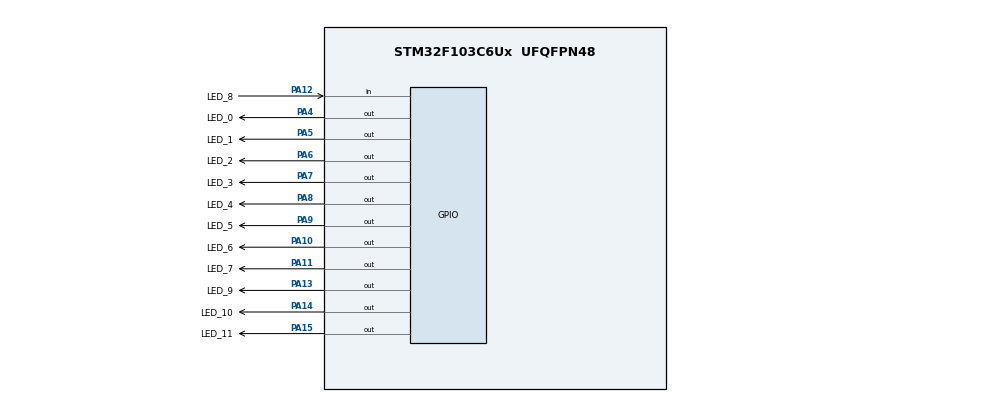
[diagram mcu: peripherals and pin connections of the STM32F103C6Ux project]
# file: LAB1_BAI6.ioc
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Mcu.Family=STM32F1
Mcu.Name=STM32F103C6Ux
Mcu.Package=UFQFPN48
NVIC.PriorityGroup=NVIC_PRIORITYGROUP_4
PA10.GPIO_Label=LED_6
PA10.Signal=GPIO_Output
PA11.GPIO_Label=LED_7
PA11.Signal=GPIO_Output
PA12.GPIO_Label=LED_8
PA12.Signal=GPIO_Input
PA13.GPIO_Label=LED_9
PA13.Signal=GPIO_Output
PA14.GPIO_Label=LED_10
PA14.Signal=GPIO_Output
PA15.GPIO_Label=LED_11
PA15.Signal=GPIO_Output
PA4.GPIO_Label=LED_0
PA4.Signal=GPIO_Output
PA5.GPIO_Label=LED_1
PA5.Signal=GPIO_Output
PA6.GPIO_Label=LED_2
PA6.Signal=GPIO_Output
PA7.GPIO_Label=LED_3
PA7.Signal=GPIO_Output
PA8.GPIO_Label=LED_4
PA8.Signal=GPIO_Output
PA9.GPIO_Label=LED_5
PA9.Signal=GPIO_Output
ProjectManager.HeapSize=0x200
ProjectManager.StackSize=0x400
ProjectManager.TargetToolchain=STM32CubeIDE
RCC.APB1Freq_Value=8000000
RCC.APB2Freq_Value=8000000
VP_SYS_VS_ND.Mode=No_Debug
board=custom

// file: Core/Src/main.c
/* USER CODE BEGIN Header */
/**
  ******************************************************************************
  * @file           : main.c
  * @brief          : Main program body
  ******************************************************************************
  * @attention
  *
  * <h2><center>&copy; Copyright (c) 2023 STMicroelectronics.
  * All rights reserved.</center></h2>
  *
  * This software component is licensed by ST under BSD 3-Clause license,
  * the "License"; You may not use this file except in compliance with the
  * License. You may obtain a copy of the License at:
  *                        opensource.org/licenses/BSD-3-Clause
  *
  ******************************************************************************
  */
/* USER CODE END Header */
#include "main.h"

void SystemClock_Config(void);
static void MX_GPIO_Init(void);

int main(void)
{

  /* MCU Configuration--------------------------------------------------------*/

  /* Reset of all peripherals, Initializes the Flash interface and the Systick. */
  HAL_Init();

  /* Configure the system clock */
  SystemClock_Config();

  /* Initialize all configured peripherals */
  MX_GPIO_Init();

  /* Infinite loop */
  /* USER CODE BEGIN WHILE */

  void clearAllClock()
  { /* Tat tat ca 12 bong den */
    	HAL_GPIO_WritePin(LED_0_GPIO_Port , LED_0_Pin , GPIO_PIN_SET);
    	HAL_GPIO_WritePin(LED_1_GPIO_Port , LED_1_Pin , GPIO_PIN_SET);
    	HAL_GPIO_WritePin(LED_2_GPIO_Port , LED_2_Pin , GPIO_PIN_SET);
    	HAL_GPIO_WritePin(LED_3_GPIO_Port , LED_3_Pin , GPIO_PIN_SET);
    	HAL_GPIO_WritePin(LED_4_GPIO_Port , LED_4_Pin , GPIO_PIN_SET);
    	HAL_GPIO_WritePin(LED_5_GPIO_Port , LED_5_Pin , GPIO_PIN_SET);
    	HAL_GPIO_WritePin(LED_6_GPIO_Port , LED_6_Pin , GPIO_PIN_SET);
    	HAL_GPIO_WritePin(LED_7_GPIO_Port , LED_7_Pin , GPIO_PIN_SET);
    	HAL_GPIO_WritePin(LED_8_GPIO_Port , LED_8_Pin , GPIO_PIN_SET);
    	HAL_GPIO_WritePin(LED_9_GPIO_Port , LED_9_Pin , GPIO_PIN_SET);
    	HAL_GPIO_WritePin(LED_10_GPIO_Port , LED_10_Pin , GPIO_PIN_SET);
    	HAL_GPIO_WritePin(LED_11_GPIO_Port , LED_11_Pin , GPIO_PIN_SET);
  }

  int count = 0;  /* Khoi tao bien "count" co gia tri ban dau bang 0 */
  clearAllClock(); /* Ban dau tat tat ca cac den */
  while (1)
  {
    /* USER CODE END WHILE */
	  switch (count++)
	  {
	  	  case 0: /* LED_0 sang */
	  		  HAL_GPIO_WritePin(LED_11_GPIO_Port , LED_11_Pin , GPIO_PIN_SET);
	  		  HAL_GPIO_WritePin(LED_0_GPIO_Port , LED_0_Pin , GPIO_PIN_RESET);
	  		  break;
	  	  case 1: /* LED_1 sang */
	  		  HAL_GPIO_WritePin(LED_0_GPIO_Port , LED_0_Pin , GPIO_PIN_SET);
	  		  HAL_GPIO_WritePin(LED_1_GPIO_Port , LED_1_Pin , GPIO_PIN_RESET);
	  		  break;
	  	  case 2: /* LED_2 sang */
	  		  HAL_GPIO_WritePin(LED_1_GPIO_Port , LED_1_Pin , GPIO_PIN_SET);
	  		  HAL_GPIO_WritePin(LED_2_GPIO_Port , LED_2_Pin , GPIO_PIN_RESET);
	  		  break;
	  	  case 3: /* LED_3 sang */
	  		  HAL_GPIO_WritePin(LED_2_GPIO_Port , LED_2_Pin , GPIO_PIN_SET);
	  		  HAL_GPIO_WritePin(LED_3_GPIO_Port , LED_3_Pin , GPIO_PIN_RESET);
	  		  break;
	  	  case 4: /* LED_4 sang */
	  		  HAL_GPIO_WritePin(LED_3_GPIO_Port , LED_3_Pin , GPIO_PIN_SET);
	  		  HAL_GPIO_WritePin(LED_4_GPIO_Port , LED_4_Pin , GPIO_PIN_RESET);
	  		  break;
	  	  case 5: /* LED_5 sang */
	  		  HAL_GPIO_WritePin(LED_4_GPIO_Port , LED_4_Pin , GPIO_PIN_SET);
	  		  HAL_GPIO_WritePin(LED_5_GPIO_Port , LED_5_Pin , GPIO_PIN_RESET);
	  		  break;
	  	  case 6: /* LED_6 sang */
	  		  HAL_GPIO_WritePin(LED_5_GPIO_Port , LED_5_Pin , GPIO_PIN_SET);
	  		  HAL_GPIO_WritePin(LED_6_GPIO_Port , LED_6_Pin , GPIO_PIN_RESET);
	  		  break;
	  	  case 7: /* LED_7 sang */
	  		  HAL_GPIO_WritePin(LED_6_GPIO_Port , LED_6_Pin , GPIO_PIN_SET);
	  		  HAL_GPIO_WritePin(LED_7_GPIO_Port , LED_7_Pin , GPIO_PIN_RESET);
	  		  break;
	  	  case 8: /* LED_8 sang */
	  		  HAL_GPIO_WritePin(LED_7_GPIO_Port , LED_7_Pin , GPIO_PIN_SET);
	  		  HAL_GPIO_WritePin(LED_8_GPIO_Port , LED_8_Pin , GPIO_PIN_RESET);
	  		  break;
	  	  case 9: /* LED_9 sang */
	  		  HAL_GPIO_WritePin(LED_8_GPIO_Port , LED_8_Pin , GPIO_PIN_SET);
	  		  HAL_GPIO_WritePin(LED_9_GPIO_Port , LED_9_Pin , GPIO_PIN_RESET);
	  		  break;
	  	  case 10: /* LED_10 sang */
	  		  HAL_GPIO_WritePin(LED_9_GPIO_Port , LED_9_Pin , GPIO_PIN_SET);
	  		  HAL_GPIO_WritePin(LED_10_GPIO_Port , LED_10_Pin , GPIO_PIN_RESET);
	  		  break;
	  	  case 11: /* LED_11 sang */
	  		  HAL_GPIO_WritePin(LED_10_GPIO_Port , LED_10_Pin , GPIO_PIN_SET);
	  		  HAL_GPIO_WritePin(LED_11_GPIO_Port , LED_11_Pin , GPIO_PIN_RESET);
	  		  break;
	  	  default:
	  		  break;
	  	  }
	  	  /* Neu sau khi den 0 sang, thi giay tiep theo ta se thiet lap cho den 11 sang tro lai */
	  if (count > 11)
	  	  {
		  	  count = 0;
	  	  }
	  	  HAL_Delay(1000);
  }
}

void SystemClock_Config(void)
{
  RCC_OscInitTypeDef RCC_OscInitStruct = {0};
  RCC_ClkInitTypeDef RCC_ClkInitStruct = {0};

  /** Initializes the RCC Oscillators according to the specified parameters
  * in the RCC_OscInitTypeDef structure.
  */
  RCC_OscInitStruct.OscillatorType = RCC_OSCILLATORTYPE_HSI;
  RCC_OscInitStruct.HSIState = RCC_HSI_ON;
  RCC_OscInitStruct.HSICalibrationValue = RCC_HSICALIBRATION_DEFAULT;
  RCC_OscInitStruct.PLL.PLLState = RCC_PLL_NONE;
  if (HAL_RCC_OscConfig(&RCC_OscInitStruct) != HAL_OK)
  {
    Error_Handler();
  }
  /** Initializes the CPU, AHB and APB buses clocks
  */
  RCC_ClkInitStruct.ClockType = RCC_CLOCKTYPE_HCLK|RCC_CLOCKTYPE_SYSCLK
                              |RCC_CLOCKTYPE_PCLK1|RCC_CLOCKTYPE_PCLK2;
  RCC_ClkInitStruct.SYSCLKSource = RCC_SYSCLKSOURCE_HSI;
  RCC_ClkInitStruct.AHBCLKDivider = RCC_SYSCLK_DIV1;
  RCC_ClkInitStruct.APB1CLKDivider = RCC_HCLK_DIV1;
  RCC_ClkInitStruct.APB2CLKDivider = RCC_HCLK_DIV1;

  if (HAL_RCC_ClockConfig(&RCC_ClkInitStruct, FLASH_LATENCY_0) != HAL_OK)
  {
    Error_Handler();
  }
}

static void MX_GPIO_Init(void)
{
  GPIO_InitTypeDef GPIO_InitStruct = {0};

  /* GPIO Ports Clock Enable */
  __HAL_RCC_GPIOA_CLK_ENABLE();

  /*Configure GPIO pin Output Level */
  HAL_GPIO_WritePin(GPIOA, LED_0_Pin|LED_1_Pin|LED_2_Pin|LED_3_Pin
                          |LED_4_Pin|LED_5_Pin|LED_6_Pin|LED_7_Pin
                          |LED_9_Pin|LED_10_Pin|LED_11_Pin, GPIO_PIN_SET);

  /*Configure GPIO pins : LED_0_Pin LED_1_Pin LED_2_Pin LED_3_Pin
                           LED_4_Pin LED_5_Pin LED_6_Pin LED_7_Pin
                           LED_9_Pin LED_10_Pin LED_11_Pin */
  GPIO_InitStruct.Pin = LED_0_Pin|LED_1_Pin|LED_2_Pin|LED_3_Pin
                          |LED_4_Pin|LED_5_Pin|LED_6_Pin|LED_7_Pin
                          |LED_9_Pin|LED_10_Pin|LED_11_Pin;
  GPIO_InitStruct.Mode = GPIO_MODE_OUTPUT_PP;
  GPIO_InitStruct.Pull = GPIO_NOPULL;
  GPIO_InitStruct.Speed = GPIO_SPEED_FREQ_LOW;
  HAL_GPIO_Init(GPIOA, &GPIO_InitStruct);

  /*Configure GPIO pin : LED_8_Pin */
  GPIO_InitStruct.Pin = LED_8_Pin;
  GPIO_InitStruct.Mode = GPIO_MODE_INPUT;
  GPIO_InitStruct.Pull = GPIO_NOPULL;
  HAL_GPIO_Init(LED_8_GPIO_Port, &GPIO_InitStruct);

}

void Error_Handler(void)
{
  __disable_irq();
  while (1)
  {
  }
}

/************************ (C) COPYRIGHT STMicroelectronics *****END OF FILE****/
